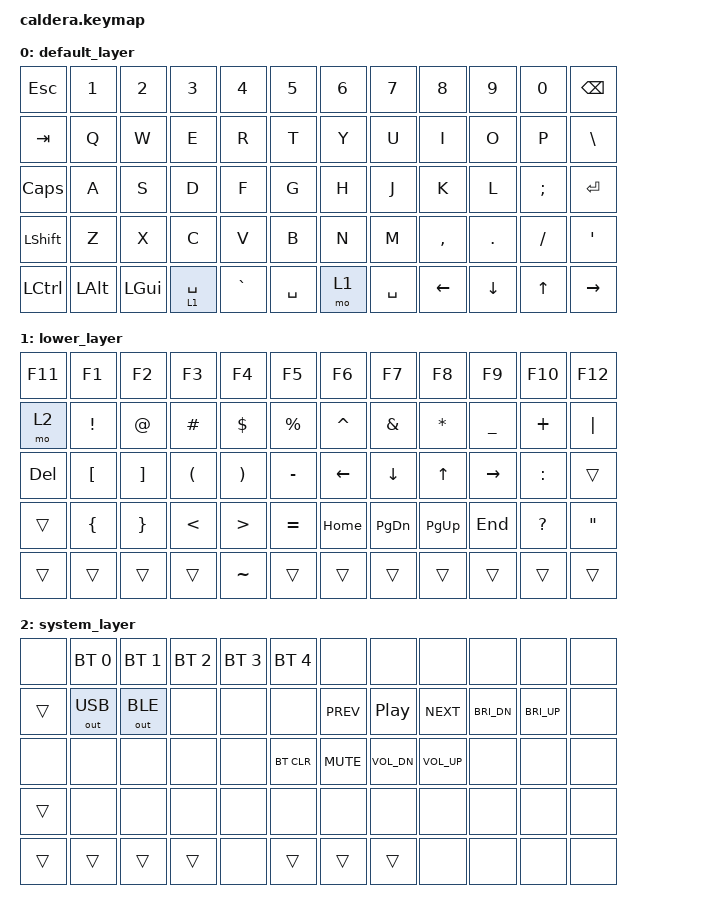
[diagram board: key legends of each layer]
#include <behaviors.dtsi>
#include <dt-bindings/zmk/bt.h>
#include <dt-bindings/zmk/keys.h>
#include <dt-bindings/zmk/outputs.h>

/ {
    keymap {
        compatible = "zmk,keymap";

        default_layer {
            // Right innermost thumb is dedicated Fn; its neighbor is Space.
            // Keep left Space/Fn for access when only the left half is powered.
            bindings = <
&kp ESCAPE  &kp N1    &kp N2    &kp N3       &kp N4     &kp N5      &kp N6     &kp N7     &kp N8     &kp N9     &kp N0    &kp BSPC
&kp TAB     &kp Q     &kp W     &kp E        &kp R      &kp T       &kp Y      &kp U      &kp I      &kp O      &kp P     &kp BSLH
&kp CAPS    &kp A     &kp S     &kp D        &kp F      &kp G       &kp H      &kp J      &kp K      &kp L      &kp SEMI  &kp RET
&kp LSHFT   &kp Z     &kp X     &kp C        &kp V      &kp B       &kp N      &kp M      &kp COMMA  &kp DOT    &kp FSLH  &kp APOS
&kp LCTRL   &kp LALT  &kp LGUI  &lt 1 SPACE  &kp GRAVE  &kp SPACE   &mo 1      &kp SPACE  &kp LEFT   &kp DOWN   &kp UP    &kp RIGHT
            >;
        };

        lower_layer {
            // Fn + 1..0 = F1..F10; the two end keys give F11/F12.
            // Symbol pairs stay together; right home row provides navigation.
            // Hold Fn + Tab for the system layer.
            bindings = <
&kp F11    &kp F1    &kp F2    &kp F3    &kp F4     &kp F5     &kp F6    &kp F7     &kp F8    &kp F9    &kp F10    &kp F12
&mo 2      &kp EXCL  &kp AT    &kp HASH  &kp DLLR   &kp PRCNT  &kp CARET &kp AMPS   &kp ASTRK &kp UNDER &kp PLUS   &kp PIPE
&kp DEL    &kp LBKT  &kp RBKT  &kp LPAR  &kp RPAR   &kp MINUS  &kp LEFT  &kp DOWN   &kp UP    &kp RIGHT &kp COLON  &trans
&trans     &kp LBRC  &kp RBRC  &kp LT    &kp GT     &kp EQUAL  &kp HOME  &kp PG_DN  &kp PG_UP &kp END   &kp QMARK  &kp DQT
&trans     &trans    &trans    &trans    &kp TILDE  &trans     &trans    &trans     &trans    &trans    &trans     &trans
            >;
        };

        system_layer {
            // Hold Fn + Tab. Profile numbers match the printed number keys.
            // G clears only the selected computer profile. Other positions
            // are deliberately inactive except modifiers, spaces and Fn.
            bindings = <
&none   &bt BT_SEL 0  &bt BT_SEL 1  &bt BT_SEL 2  &bt BT_SEL 3  &bt BT_SEL 4   &none       &none        &none        &none        &none        &none
&trans  &out OUT_USB  &out OUT_BLE  &none         &none         &none          &kp C_PREV  &kp C_PP     &kp C_NEXT   &kp C_BRI_DN &kp C_BRI_UP &none
&none   &none        &none         &none         &none         &bt BT_CLR     &kp C_MUTE  &kp C_VOL_DN &kp C_VOL_UP &none        &none        &none
&trans  &none        &none         &none         &none         &none          &none       &none        &none        &none        &none        &none
&trans  &trans       &trans        &trans        &none         &trans         &trans      &trans       &none        &none        &none        &none
            >;
        };
    };
};
